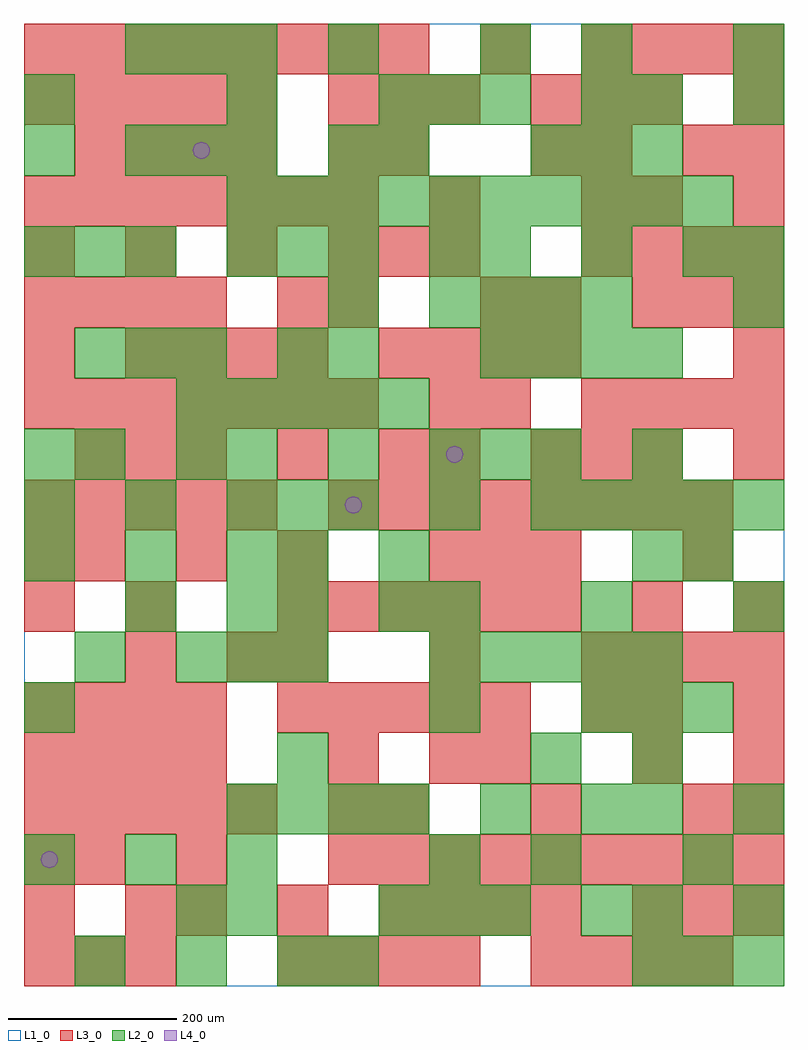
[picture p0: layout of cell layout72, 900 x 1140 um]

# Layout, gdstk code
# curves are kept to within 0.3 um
import gdstk
lib = gdstk.Library(unit=1e-6, precision=1e-09)
def R(c, l, rs):  # rectangles x0, y0, x1, y1
    for r in rs: c.add(gdstk.rectangle(r[:2], r[2:], *l))
def A(c, l, x, y, w, h, nx, ny, dx, dy):  # array of equal rectangles
    R(c, l, [(x+i*dx, y+j*dy, x+i*dx+w, y+j*dy+h) for i in range(nx) for j in range(ny)])
def P(c, l, *ps):  # polygons
    for p in ps: c.add(gdstk.Polygon(p, *l))
L1_0 = (1, 0)
L2_0 = (2, 0)
L3_0 = (3, 0)
L4_0 = (4, 0)

layout72 = lib.new_cell('layout72')
R(layout72, L1_0, [(0,0,900,1140)])
A(layout72, L2_0, 60, 0, 60, 60, 3, 1, 120, 0)
A(layout72, L2_0, 720, 0, 60, 60, 3, 1, 60, 0)
A(layout72, L2_0, 420, 60, 60, 60, 3, 2, 60, 960)
A(layout72, L2_0, 0, 120, 60, 60, 3, 2, 120, 360)
A(layout72, L2_0, 240, 180, 60, 60, 4, 1, 60, 0)
A(layout72, L2_0, 660, 300, 60, 60, 3, 1, 60, 0)
A(layout72, L2_0, 180, 360, 60, 60, 3, 1, 60, 0)
A(layout72, L2_0, 480, 360, 60, 60, 5, 1, 60, 0)
A(layout72, L2_0, 300, 420, 60, 60, 1, 3, 0, 60)
A(layout72, L2_0, 480, 420, 60, 60, 3, 1, 180, 0)
A(layout72, L2_0, 0, 540, 60, 60, 3, 1, 120, 0)
A(layout72, L2_0, 360, 540, 60, 60, 3, 1, 120, 0)
A(layout72, L2_0, 660, 540, 60, 60, 4, 1, 60, 0)
A(layout72, L2_0, 240, 600, 60, 60, 3, 1, 120, 0)
A(layout72, L2_0, 180, 660, 60, 60, 5, 1, 60, 0)
A(layout72, L2_0, 60, 720, 60, 60, 3, 1, 60, 0)
A(layout72, L2_0, 540, 720, 60, 60, 4, 1, 60, 0)
A(layout72, L2_0, 480, 780, 60, 60, 4, 1, 60, 0)
A(layout72, L2_0, 0, 840, 60, 60, 3, 1, 60, 0)
A(layout72, L2_0, 240, 840, 60, 60, 3, 1, 60, 0)
A(layout72, L2_0, 540, 840, 60, 60, 3, 1, 120, 0)
A(layout72, L2_0, 240, 900, 60, 60, 10, 1, 60, 0)
A(layout72, L2_0, 120, 960, 60, 60, 3, 2, 60, 120)
A(layout72, L2_0, 600, 960, 60, 60, 3, 1, 60, 0)
R(layout72, L2_0, [(360,0,420,60), (180,60,240,120), (240,60,300,120), (660,60,720,120), (720,60,780,120), (840,60,900,120), (480,120,540,180), (600,120,660,180), (780,120,840,180), (540,180,600,240), (660,180,720,240), (720,180,780,240), (840,180,900,240), (300,240,360,300), (600,240,660,300), (720,240,780,300), (0,300,60,360), (480,300,540,360), (60,360,120,420), (120,420,180,480), (240,420,300,480), (420,420,480,480), (420,480,480,540), (720,480,780,540), (780,480,840,540), (0,600,60,660), (60,600,120,660), (180,600,240,660), (540,600,600,660), (600,600,660,660), (720,600,780,660), (300,720,360,780), (360,720,420,780), (360,780,420,840), (840,780,900,840), (480,840,540,900), (840,840,900,900), (0,960,60,1020), (360,960,420,1020), (420,960,480,1020), (0,1020,60,1080), (240,1020,300,1080), (660,1020,720,1080), (720,1020,780,1080), (840,1020,900,1080), (360,1080,420,1140), (540,1080,600,1140), (660,1080,720,1140), (840,1080,900,1140)])
A(layout72, L3_0, 0, 0, 60, 60, 3, 1, 60, 0)
A(layout72, L3_0, 300, 0, 60, 60, 4, 1, 60, 0)
A(layout72, L3_0, 600, 0, 60, 60, 4, 1, 60, 0)
A(layout72, L3_0, 180, 60, 60, 60, 3, 1, 120, 0)
A(layout72, L3_0, 480, 60, 60, 60, 3, 2, 60, 420)
A(layout72, L3_0, 720, 60, 60, 60, 3, 2, 60, 300)
A(layout72, L3_0, 360, 120, 60, 60, 9, 1, 60, 0)
A(layout72, L3_0, 0, 180, 60, 60, 5, 2, 60, 360)
A(layout72, L3_0, 420, 180, 60, 60, 3, 1, 180, 0)
A(layout72, L3_0, 840, 180, 60, 60, 1, 3, 0, 60)
A(layout72, L3_0, 0, 240, 60, 60, 4, 2, 60, 60)
A(layout72, L3_0, 300, 300, 60, 60, 5, 1, 60, 0)
A(layout72, L3_0, 300, 360, 60, 60, 3, 1, 180, 0)
A(layout72, L3_0, 300, 420, 60, 60, 6, 1, 60, 0)
A(layout72, L3_0, 60, 480, 60, 60, 3, 1, 120, 0)
A(layout72, L3_0, 360, 540, 60, 60, 8, 1, 60, 0)
A(layout72, L3_0, 60, 600, 60, 60, 3, 1, 60, 0)
A(layout72, L3_0, 600, 600, 60, 60, 3, 2, 60, 420)
A(layout72, L3_0, 0, 660, 60, 60, 7, 2, 60, 240)
A(layout72, L3_0, 660, 660, 60, 60, 4, 2, 60, 180)
A(layout72, L3_0, 120, 720, 60, 60, 4, 1, 60, 0)
A(layout72, L3_0, 420, 720, 60, 60, 4, 1, 60, 0)
A(layout72, L3_0, 0, 780, 60, 60, 4, 1, 60, 0)
A(layout72, L3_0, 720, 780, 60, 60, 3, 1, 60, 0)
A(layout72, L3_0, 0, 840, 60, 60, 4, 1, 120, 0)
A(layout72, L3_0, 840, 900, 60, 60, 1, 3, 0, 60)
A(layout72, L3_0, 60, 960, 60, 60, 4, 1, 60, 0)
A(layout72, L3_0, 0, 1020, 60, 60, 5, 1, 60, 0)
A(layout72, L3_0, 360, 1020, 60, 60, 3, 1, 60, 0)
A(layout72, L3_0, 0, 1080, 60, 60, 8, 1, 60, 0)
A(layout72, L3_0, 660, 1080, 60, 60, 4, 1, 60, 0)
R(layout72, L3_0, [(0,60,60,120), (120,60,180,120), (0,120,60,180), (60,120,120,180), (180,120,240,180), (360,180,420,240), (360,240,420,300), (480,240,540,300), (540,240,600,300), (720,240,780,300), (660,300,720,360), (720,300,780,360), (120,360,180,420), (240,360,300,420), (0,420,60,480), (120,420,180,480), (720,420,780,480), (840,420,900,480), (0,480,60,540), (780,480,840,540), (300,600,360,660), (420,600,480,660), (480,600,540,660), (840,600,900,660), (480,660,540,720), (540,660,600,720), (0,720,60,780), (840,720,900,780), (300,780,360,840), (360,780,420,840), (540,780,600,840), (600,780,660,840), (420,840,480,900), (480,840,540,900), (480,900,540,960), (660,900,720,960), (720,900,780,960), (360,960,420,1020), (420,960,480,1020), (600,960,660,1020), (660,960,720,1020), (780,960,840,1020), (540,1080,600,1140)])
P(layout72, L4_0, [(40,150),(39.239,153.827),(37.071,157.071),(33.827,159.239),(30,160),(26.173,159.239),(22.929,157.071),(20.761,153.827),(20,150),(20.761,146.173),(22.929,142.929),(26.173,140.761),(30,140),(33.827,140.761),(37.071,142.929),(39.239,146.173)],
  [(220,990),(219.239,993.827),(217.071,997.071),(213.827,999.239),(210,1000),(206.173,999.239),(202.929,997.071),(200.761,993.827),(200,990),(200.761,986.173),(202.929,982.929),(206.173,980.761),(210,980),(213.827,980.761),(217.071,982.929),(219.239,986.173)],
  [(400,570),(399.239,573.827),(397.071,577.071),(393.827,579.239),(390,580),(386.173,579.239),(382.929,577.071),(380.761,573.827),(380,570),(380.761,566.173),(382.929,562.929),(386.173,560.761),(390,560),(393.827,560.761),(397.071,562.929),(399.239,566.173)],
  [(520,630),(519.239,633.827),(517.071,637.071),(513.827,639.239),(510,640),(506.173,639.239),(502.929,637.071),(500.761,633.827),(500,630),(500.761,626.173),(502.929,622.929),(506.173,620.761),(510,620),(513.827,620.761),(517.071,622.929),(519.239,626.173)])

lib.write_gds('layout72.gds')
